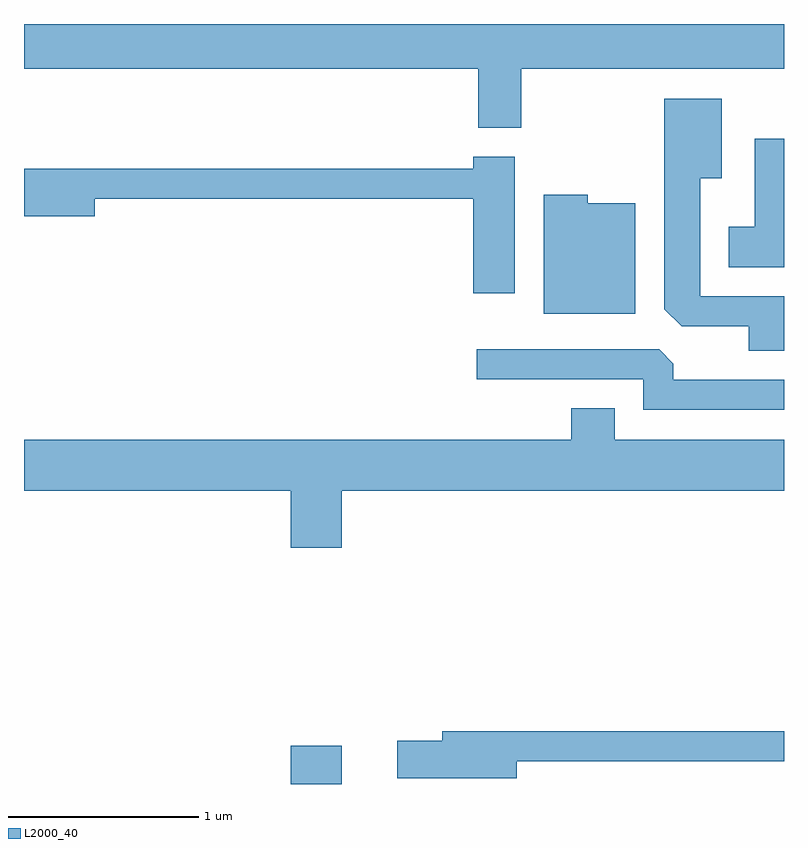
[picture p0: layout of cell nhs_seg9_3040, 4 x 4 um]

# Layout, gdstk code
import gdstk
lib = gdstk.Library(unit=1e-6, precision=1e-09)
def R(c, l, rs):  # rectangles x0, y0, x1, y1
    for r in rs: c.add(gdstk.rectangle(r[:2], r[2:], *l))
def P(c, l, *ps):  # polygons
    for p in ps: c.add(gdstk.Polygon(p, *l))
L2000_40 = (2000, 40)

nhs_seg9_3040 = lib.new_cell('nhs_seg9_3040')
R(nhs_seg9_3040, L2000_40, [(275.016,2052.432,275.284,2052.634)])
P(nhs_seg9_3040, L2000_40, [(276.229,2056.196),(277.611,2056.196),(277.611,2056.432),(273.611,2056.432),(273.611,2056.196),(276.001,2056.196),(276.001,2055.886),(276.229,2055.886)],
  [(277.611,2054.999),(277.169,2054.999),(277.169,2055.621),(277.284,2055.621),(277.284,2056.039),(276.981,2056.039),(276.981,2054.932),(277.072,2054.841),(277.426,2054.841),(277.426,2054.711),(277.611,2054.711)],
  [(277.611,2055.829),(277.456,2055.829),(277.456,2055.364),(277.321,2055.364),(277.321,2055.151),(277.611,2055.151)],
  [(276.194,2055.734),(275.976,2055.734),(275.976,2055.669),(273.611,2055.669),(273.611,2055.421),(273.984,2055.421),(273.984,2055.511),(275.976,2055.511),(275.976,2055.016),(276.194,2055.016)],
  [(276.829,2055.489),(276.579,2055.489),(276.579,2055.534),(276.346,2055.534),(276.346,2054.906),(276.829,2054.906)],
  [(277.611,2054.559),(277.029,2054.559),(277.029,2054.644),(276.954,2054.719),(275.993,2054.719),(275.993,2054.561),(276.871,2054.561),(276.871,2054.401),(277.611,2054.401)],
  [(276.491,2054.409),(276.491,2054.244),(273.611,2054.244),(273.611,2053.976),(275.016,2053.976),(275.016,2053.676),(275.284,2053.676),(275.284,2053.976),(277.611,2053.976),(277.611,2054.244),(276.719,2054.244),(276.719,2054.409)],
  [(276.204,2052.551),(277.611,2052.551),(277.611,2052.709),(275.811,2052.709),(275.811,2052.659),(275.576,2052.659),(275.576,2052.461),(276.204,2052.461)])

lib.write_gds('nhs_seg9_3040.gds')
